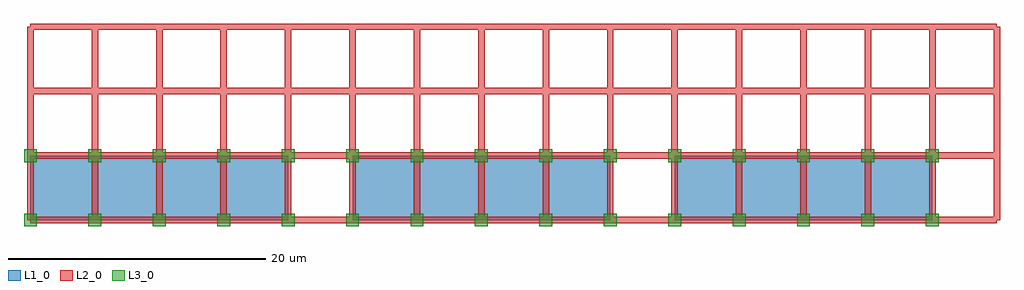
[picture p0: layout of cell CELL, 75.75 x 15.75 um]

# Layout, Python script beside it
import gdspy

# Create a GDSII library and a cell
library = gdspy.GdsLibrary()
cell = library.new_cell('CELL')

# Define layers
ACTIVE_LAYER = 1
POLY_LAYER = 2
CONTACT_LAYER = 3

# Draw three rectangular active regions (20 µm x 5 µm) with 5 µm spacing
# First active region
rect1 = gdspy.Rectangle((0, 0), (20, 5), layer=ACTIVE_LAYER)
cell.add(rect1)

# Second active region, 5 µm spacing from the first
rect2 = gdspy.Rectangle((25, 0), (45, 5), layer=ACTIVE_LAYER)
cell.add(rect2)

# Third active region, 5 µm spacing from the second
rect3 = gdspy.Rectangle((50, 0), (70, 5), layer=ACTIVE_LAYER)
cell.add(rect3)

# Create polysilicon gate pattern (grid-like structure with 0.5 µm width lines)
# Vertical lines from x = 0 µm to x = 75 µm with 5 µm spacing
x_positions = list(range(0, 76, 5))
for x in x_positions:
    x1 = x - 0.25  # Shift by half the line width to center the line
    x2 = x + 0.25
    vertical_line = gdspy.Rectangle((x1, 0), (x2, 15), layer=POLY_LAYER)
    cell.add(vertical_line)

# Horizontal lines from y = 0 µm to y = 15 µm with 5 µm spacing
y_positions = [0, 5, 10, 15]
for y in y_positions:
    y1 = y - 0.25
    y2 = y + 0.25
    horizontal_line = gdspy.Rectangle((0, y1), (75, y2), layer=POLY_LAYER)
    cell.add(horizontal_line)

# Add contact holes (1 µm x 1 µm) at intersections of polysilicon grid and active regions
contact_size = 1.0  # Size of the contact holes

# Active region boundaries
active_regions = [
    {'x_start': 0, 'x_end': 20},
    {'x_start': 25, 'x_end': 45},
    {'x_start': 50, 'x_end': 70}
]

# Loop through each active region
for region in active_regions:
    x_active_start = region['x_start']
    x_active_end = region['x_end']
    # Find vertical grid lines within the active region
    x_contacts = [x for x in x_positions if (x >= x_active_start - 0.25) and (x <= x_active_end + 0.25)]
    # Horizontal grid lines intersecting active regions (y from 0 µm to 5 µm)
    y_contacts = [y for y in y_positions if y >= 0 and y <= 5]
    # Create contact holes at the intersections
    for x in x_contacts:
        for y in y_contacts:
            contact = gdspy.Rectangle(
                (x - contact_size / 2, y - contact_size / 2),
                (x + contact_size / 2, y + contact_size / 2),
                layer=CONTACT_LAYER
            )
            cell.add(contact)

# Save the design to a GDSII file
library.write_gds('layout.gds')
